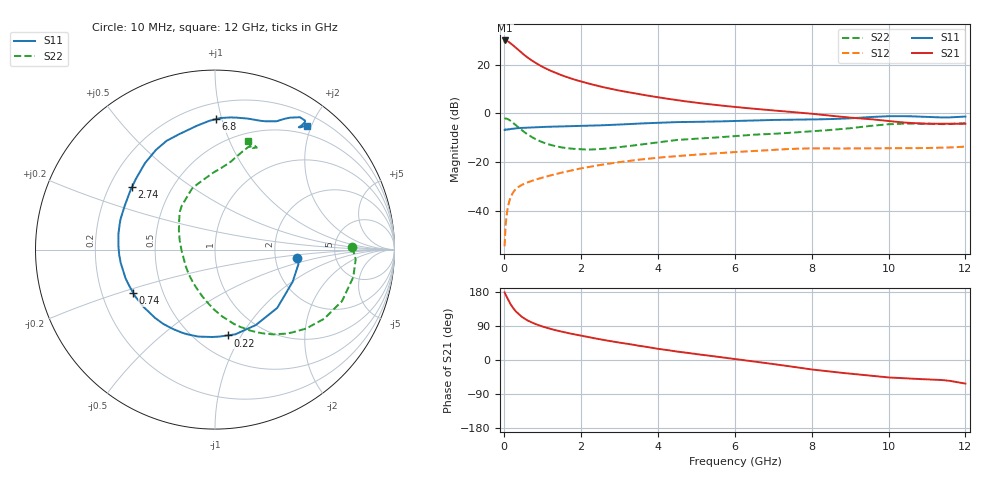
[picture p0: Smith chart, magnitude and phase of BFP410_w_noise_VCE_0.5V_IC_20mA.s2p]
! Infineon Technologies  Discrete & RF Semiconductors
! BFP410
! VCE =  0.5 V,  IC =  20 mA
! Common Emitter S-Parameters:  Nov 2015
# GHz  S  MA  R  50
!  f  S11  S21  S12  S22
! GHz  MAG  ANG  MAG  ANG  MAG  ANG  MAG  ANG
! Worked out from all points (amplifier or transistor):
!   243 points, 10 MHz to 12 GHz, reference 50 ohm
!   highest |S21| = 29.9 dB at 20 MHz (marker M1)
!   |S21| within 3 dB of that: start of sweep to 300.2 MHz
!   unconditionally stable (mu >= 1): start of sweep to 35.09 MHz; 1.222 GHz to end of sweep
!   at 240 MHz: K = 0.42, MSG = 30.0 dB, |S12| = -32.2 dB
!   at 1.84 GHz: K = 1.16, MAG = 16.0 dB, |S12| = -23.1 dB
!   at 12 GHz: K = 1.02, MAG = 3.8 dB, |S12| = -13.6 dB
!   lowest NFmin = 1.70 dB at 900 MHz
!   S11 on the Smith chart (normalised r, x): 10 MHz: 2.65, -0.32; 220 MHz: 0.70, -0.87; 740 MHz: 0.34, -0.22; 2.74 GHz: 0.29, +0.31; 6.8 GHz: 0.31, +0.96; 12 GHz: 0.36, +1.93
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0.01  0.459 -5.9  29.39 178.7  0.0019 115.5  0.765 1.0
0.02  0.4723 -9.7  31.25 175.6  0.0029 93.5  0.7856 -4.0
0.05  0.4683 -22.5  30.75 169.1  0.0068 84.8  0.7856 -11.2
0.1  0.4752 -43.1  29.86 159.2  0.0125 75.7  0.7636 -22.1
0.15  0.478 -61.6  27.88 149.6  0.0176 69.1  0.7203 -32.3
0.2  0.4854 -76.6  26.05 141.6  0.0217 63.5  0.6718 -40.9
0.22  0.4833 -81.7  25.22 139.0  0.0231 61.6  0.6505 -43.9
0.3  0.4937 -100.9  22.13 128.4  0.028 55.8  0.5733 -55.5
0.4  0.5003 -117.8  18.91 118.6  0.0322 51.2  0.4919 -66.5
0.45  0.5045 -124.8  17.46 114.6  0.034 49.8  0.4572 -71.3
0.6  0.5104 -141.2  14.1 104.7  0.0384 47.1  0.3741 -83.9
0.74  0.5157 -152.2  11.83 98.2  0.042 46.0  0.3207 -93.3
0.98  0.525 -166.4  9.146 88.8  0.0479 45.4  0.2593 -108.2
1.3  0.5367 -179.7  6.96 79.5  0.056 45.0  0.2161 -126.0
2.02  0.5539 159.8  4.458 63.6  0.0752 42.8  0.1825 -158.3
2.74  0.579 143.1  3.228 50.3  0.0937 37.9  0.1929 173.2
4.1  0.6483 119.3  2.078 28.2  0.1257 26.2  0.261 139.8
6.1  0.7024 96.7  1.332 1.3  0.1628 8.7  0.3473 114.2
6.8  0.7269 89.6  1.188 -7.9  0.1755 2.1  0.3748 106.2
8.2  0.756 73.2  0.947 -27.3  0.1914 -13.9  0.4412 88.5
10.2  0.8764 56.3  0.673 -47.1  0.1929 -29.0  0.6077 70.9
12  0.8604 53.4  0.612 -62.3  0.2083 -42.1  0.6292 73.2
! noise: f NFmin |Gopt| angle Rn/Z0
0.45  1.73  0.14  -155  0.16
0.9  1.7  0.14  -156  0.16
1.8  1.84  0.19  -141  0.17
2.4  1.84  0.24  -124  0.23
5.5  2.72  0.43  -103  0.42
10  3.83  0.7  -46  2.5
